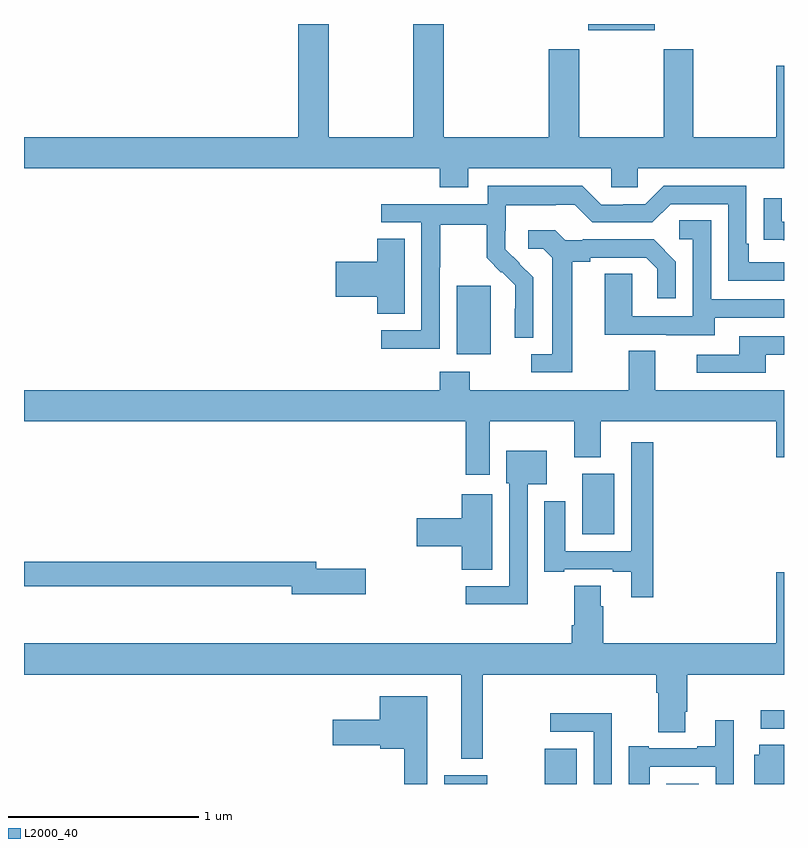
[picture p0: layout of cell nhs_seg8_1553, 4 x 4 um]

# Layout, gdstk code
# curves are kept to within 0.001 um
import gdstk
lib = gdstk.Library(unit=1e-6, precision=1e-09)
def R(c, l, rs):  # rectangles x0, y0, x1, y1
    for r in rs: c.add(gdstk.rectangle(r[:2], r[2:], *l))
def P(c, l, *ps):  # polygons
    for p in ps: c.add(gdstk.Polygon(p, *l))
L2000_40 = (2000, 40)

nhs_seg8_1553 = lib.new_cell('nhs_seg8_1553')
R(nhs_seg8_1553, L2000_40, [(211.211,1139.9,211.438,1139.947), (211.742,1139.9,211.909,1140.085), (212.381,1139.9,212.551,1139.902), (212.877,1140.192,213,1140.288), (211.937,1141.214,212.107,1141.534), (211.277,1142.162,211.456,1142.523), (211.97,1143.866,212.32,1143.9)])
P(nhs_seg8_1553, L2000_40, [(211.339,1143.14),(212.091,1143.14),(212.091,1143.042),(212.229,1143.042),(212.229,1143.14),(213,1143.14),(213,1143.679),(212.96,1143.679),(212.96,1143.304),(212.523,1143.304),(212.523,1143.766),(212.368,1143.766),(212.368,1143.304),(211.923,1143.304),(211.923,1143.766),(211.763,1143.766),(211.763,1143.304),(211.208,1143.304),(211.208,1143.9),(211.048,1143.9),(211.048,1143.304),(210.603,1143.304),(210.603,1143.9),(210.443,1143.9),(210.443,1143.304),(209,1143.304),(209,1143.14),(211.187,1143.14),(211.187,1143.041),(211.339,1143.041)],
  [(211.188,1142.62),(211.191,1142.62),(211.191,1142.844),(211.435,1142.844),(211.435,1142.669),(211.512,1142.592),(211.515,1142.595),(211.586,1142.525),(211.586,1142.402),(211.584,1142.402),(211.584,1142.248),(211.68,1142.248),(211.68,1142.566),(211.534,1142.714),(211.534,1142.811),(211.536,1142.811),(211.536,1142.945),(211.799,1142.945),(211.799,1142.949),(211.899,1142.949),(211.992,1142.856),(212.307,1142.856),(212.403,1142.952),(212.706,1142.952),(212.706,1142.55),(213,1142.55),(213,1142.646),(212.815,1142.646),(212.815,1142.743),(212.802,1142.743),(212.802,1143.048),(212.367,1143.048),(212.271,1142.952),(212.153,1142.952),(212.153,1142.949),(212.037,1142.949),(211.937,1143.049),(211.44,1143.049),(211.44,1142.952),(210.879,1142.952),(210.879,1142.856),(211.092,1142.856),(211.092,1142.289),(210.879,1142.289),(210.879,1142.191),(211.188,1142.191)],
  [(213,1142.859),(212.989,1142.859),(212.989,1142.983),(212.893,1142.983),(212.893,1142.764),(212.995,1142.764),(212.995,1142.763),(213,1142.763)],
  [(212.635,1142.355),(213,1142.355),(213,1142.451),(212.616,1142.451),(212.616,1142.867),(212.448,1142.867),(212.448,1142.766),(212.52,1142.766),(212.52,1142.361),(212.202,1142.361),(212.202,1142.585),(212.057,1142.585),(212.057,1142.265),(212.381,1142.265),(212.381,1142.261),(212.635,1142.261)],
  [(211.885,1142.648),(211.981,1142.648),(211.981,1142.67),(212.276,1142.67),(212.333,1142.613),(212.333,1142.457),(212.43,1142.457),(212.43,1142.65),(212.314,1142.766),(211.942,1142.766),(211.942,1142.763),(211.848,1142.763),(211.796,1142.815),(211.653,1142.815),(211.653,1142.718),(211.734,1142.718),(211.781,1142.671),(211.781,1142.163),(211.671,1142.163),(211.671,1142.067),(211.885,1142.067)],
  [(211.003,1142.771),(210.86,1142.771),(210.86,1142.648),(210.642,1142.648),(210.642,1142.465),(210.86,1142.465),(210.86,1142.374),(211.003,1142.374)],
  [(212.905,1142.16),(213,1142.16),(213,1142.256),(212.765,1142.256),(212.765,1142.16),(212.541,1142.16),(212.541,1142.064),(212.905,1142.064)],
  [(211.45,1141.808),(211.895,1141.808),(211.895,1141.619),(212.035,1141.619),(212.035,1141.808),(212.96,1141.808),(212.96,1141.62),(213,1141.62),(213,1141.972),(212.323,1141.972),(212.323,1142.18),(212.183,1142.18),(212.183,1141.972),(211.347,1141.972),(211.347,1142.071),(211.187,1142.071),(211.187,1141.972),(209,1141.972),(209,1141.808),(211.325,1141.808),(211.325,1141.527),(211.45,1141.527)],
  [(212.312,1141.699),(212.196,1141.699),(212.196,1141.125),(211.849,1141.125),(211.849,1141.387),(211.739,1141.387),(211.739,1141.017),(211.843,1141.017),(211.843,1141.029),(212.099,1141.029),(212.099,1141.017),(212.195,1141.017),(212.195,1140.882),(212.312,1140.882)],
  [(211.65,1141.478),(211.75,1141.478),(211.75,1141.654),(211.538,1141.654),(211.538,1141.482),(211.554,1141.482),(211.554,1140.942),(211.326,1140.942),(211.326,1140.845),(211.65,1140.845)],
  [(211.465,1141.426),(211.304,1141.426),(211.304,1141.298),(211.068,1141.298),(211.068,1141.151),(211.304,1141.151),(211.304,1141.027),(211.465,1141.027)],
  [(210.799,1141.034),(210.538,1141.034),(210.538,1141.07),(209,1141.07),(209,1140.942),(210.41,1140.942),(210.41,1140.899),(210.799,1140.899)],
  [(212.048,1140.836),(212.035,1140.836),(212.035,1140.944),(211.895,1140.944),(211.895,1140.736),(211.883,1140.736),(211.883,1140.64),(209,1140.64),(209,1140.476),(211.301,1140.476),(211.301,1140.032),(211.415,1140.032),(211.415,1140.476),(212.327,1140.476),(212.327,1140.38),(212.339,1140.38),(212.339,1140.172),(212.479,1140.172),(212.479,1140.28),(212.492,1140.28),(212.492,1140.476),(213,1140.476),(213,1141.015),(212.96,1141.015),(212.96,1140.64),(212.048,1140.64)],
  [(211.123,1140.361),(210.872,1140.361),(210.872,1140.238),(210.624,1140.238),(210.624,1140.104),(210.876,1140.104),(210.876,1140.086),(211.002,1140.086),(211.002,1139.9),(211.123,1139.9)],
  [(212.094,1140.272),(211.77,1140.272),(211.77,1140.174),(211.998,1140.174),(211.998,1139.9),(212.094,1139.9)],
  [(212.293,1139.991),(212.64,1139.991),(212.64,1139.9),(212.736,1139.9),(212.736,1140.235),(212.639,1140.235),(212.639,1140.1),(212.543,1140.1),(212.543,1140.087),(212.287,1140.087),(212.287,1140.1),(212.183,1140.1),(212.183,1139.9),(212.293,1139.9)],
  [(213,1140.107),(212.87,1140.107),(212.87,1140.054),(212.843,1140.054),(212.843,1139.9),(213,1139.9)])

lib.write_gds('nhs_seg8_1553.gds')
